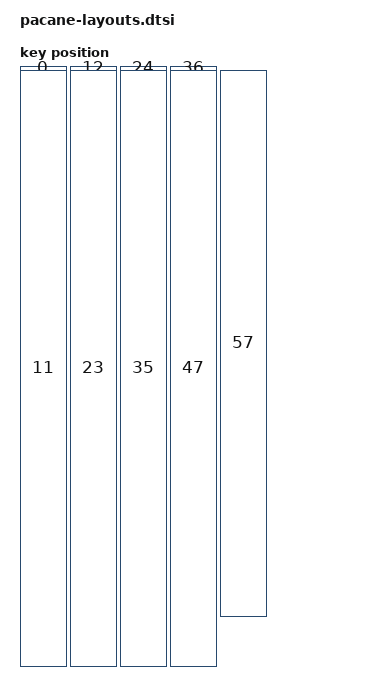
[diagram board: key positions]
#include <physical_layouts.dtsi>

/ {
    pacane_physical_layout: pacane_physical_layout {
        compatible = "zmk,physical-layout";
        display-name = "Default Layout";
        transform = <&default_transform>;
        keys = <
            // Row 0 (left)
            &key_physical_attrs 100   0   100 100 0 0 0
            &key_physical_attrs 100 100   100 100 0 0 0
            &key_physical_attrs 100 200   100 100 0 0 0
            &key_physical_attrs 100 300   100 100 0 0 0
            &key_physical_attrs 100 400   100 100 0 0 0
            &key_physical_attrs 100 500   100 100 0 0 0
            // Row 0 (right)
            &key_physical_attrs 100 700   100 100 0 0 0
            &key_physical_attrs 100 800   100 100 0 0 0
            &key_physical_attrs 100 900   100 100 0 0 0
            &key_physical_attrs 100 1000  100 100 0 0 0
            &key_physical_attrs 100 1100  100 100 0 0 0
            &key_physical_attrs 100 1200  100 100 0 0 0
            // Row 1 (left)
            &key_physical_attrs 100   0   200 100 0 0 0
            &key_physical_attrs 100 100   200 100 0 0 0
            &key_physical_attrs 100 200   200 100 0 0 0
            &key_physical_attrs 100 300   200 100 0 0 0
            &key_physical_attrs 100 400   200 100 0 0 0
            &key_physical_attrs 100 500   200 100 0 0 0
            // Row 1 (right)
            &key_physical_attrs 100 700   200 100 0 0 0
            &key_physical_attrs 100 800   200 100 0 0 0
            &key_physical_attrs 100 900   200 100 0 0 0
            &key_physical_attrs 100 1000  200 100 0 0 0
            &key_physical_attrs 100 1100  200 100 0 0 0
            &key_physical_attrs 100 1200  200 100 0 0 0
            // Row 2 (left)
            &key_physical_attrs 100   0   300 100 0 0 0
            &key_physical_attrs 100 100   300 100 0 0 0
            &key_physical_attrs 100 200   300 100 0 0 0
            &key_physical_attrs 100 300   300 100 0 0 0
            &key_physical_attrs 100 400   300 100 0 0 0
            &key_physical_attrs 100 500   300 100 0 0 0
            // Row 2 (right)
            &key_physical_attrs 100 700   300 100 0 0 0
            &key_physical_attrs 100 800   300 100 0 0 0
            &key_physical_attrs 100 900   300 100 0 0 0
            &key_physical_attrs 100 1000  300 100 0 0 0
            &key_physical_attrs 100 1100  300 100 0 0 0
            &key_physical_attrs 100 1200  300 100 0 0 0
            // Row 3 (left)
            &key_physical_attrs 100   0   400 100 0 0 0
            &key_physical_attrs 100 100   400 100 0 0 0
            &key_physical_attrs 100 200   400 100 0 0 0
            &key_physical_attrs 100 300   400 100 0 0 0
            &key_physical_attrs 100 400   400 100 0 0 0
            &key_physical_attrs 100 500   400 100 0 0 0
            // Row 3 (right)
            &key_physical_attrs 100 700   400 100 0 0 0
            &key_physical_attrs 100 800   400 100 0 0 0
            &key_physical_attrs 100 900   400 100 0 0 0
            &key_physical_attrs 100 1000  400 100 0 0 0
            &key_physical_attrs 100 1100  400 100 0 0 0
            &key_physical_attrs 100 1200  400 100 0 0 0
            // Row 4 - thumb row (left, starts at col 1)
            &key_physical_attrs 100 100   500 100 0 0 0
            &key_physical_attrs 100 200   500 100 0 0 0
            &key_physical_attrs 100 300   500 100 0 0 0
            &key_physical_attrs 100 400   500 100 0 0 0
            &key_physical_attrs 100 500   500 100 0 0 0
            // Row 4 - thumb row (right, ends at col 10)
            &key_physical_attrs 100 700   500 100 0 0 0
            &key_physical_attrs 100 800   500 100 0 0 0
            &key_physical_attrs 100 900   500 100 0 0 0
            &key_physical_attrs 100 1000  500 100 0 0 0
            &key_physical_attrs 100 1100  500 100 0 0 0
        >;
    };
};
